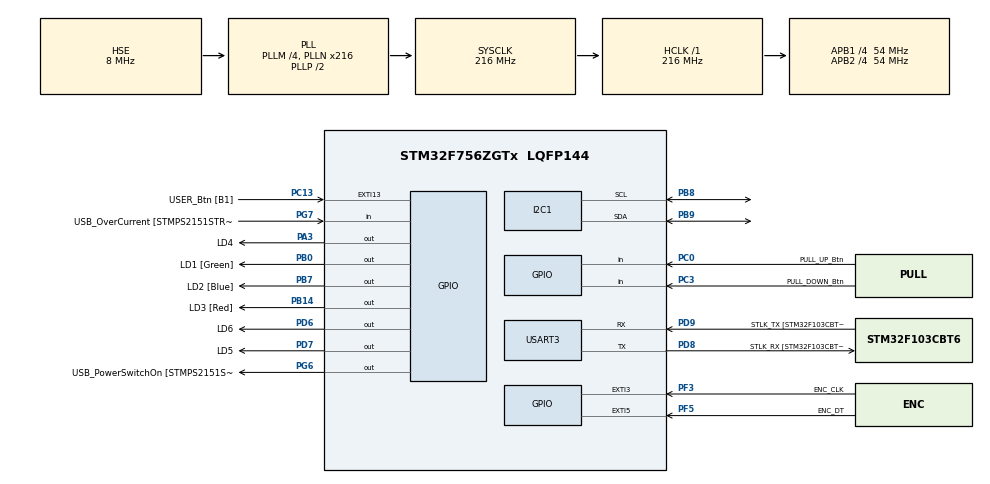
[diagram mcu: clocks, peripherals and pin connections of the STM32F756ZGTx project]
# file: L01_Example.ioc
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I2C1.Timing=0x20404768
Mcu.Family=STM32F7
Mcu.Name=STM32F756ZGTx
Mcu.Package=LQFP144
NVIC.EXTI15_10_IRQn=true\:0\:0\:false\:false\:true\:true\:true\:true
NVIC.EXTI3_IRQn=true\:0\:0\:false\:false\:true\:true\:true\:true
NVIC.EXTI9_5_IRQn=true\:0\:0\:false\:false\:true\:true\:true\:true
NVIC.PriorityGroup=NVIC_PRIORITYGROUP_4
PA1.GPIO_Label=RMII_REF_CLK [LAN8742A-CZ-TR_REFCLK0]
PA1.Signal=ETH_REF_CLK
PA10.GPIO_Label=USB_ID
PA10.Signal=USB_OTG_FS_ID
PA11.GPIO_Label=USB_DM
PA11.Signal=USB_OTG_FS_DM
PA12.GPIO_Label=USB_DP
PA12.Signal=USB_OTG_FS_DP
PA13.GPIO_Label=TMS
PA13.Mode=Serial_Wire
PA13.Signal=SYS_JTMS-SWDIO
PA14.GPIO_Label=TCK
PA14.Mode=Serial_Wire
PA14.Signal=SYS_JTCK-SWCLK
PA2.GPIO_Label=RMII_MDIO [LAN8742A-CZ-TR_MDIO]
PA2.Signal=ETH_MDIO
PA3.GPIO_Label=LD4
PA3.Signal=GPIO_Output
PA7.GPIO_Label=RMII_CRS_DV [LAN8742A-CZ-TR_CRS_DV]
PA7.Signal=ETH_CRS_DV
PA8.GPIO_Label=USB_SOF [TP1]
PA8.Signal=USB_OTG_FS_SOF
PA9.GPIO_Label=USB_VBUS
PA9.Signal=USB_OTG_FS_VBUS
PB0.GPIO_Label=LD1 [Green]
PB0.Signal=GPIO_Output
PB13.GPIO_Label=RMII_TXD1 [LAN8742A-CZ-TR_TXD1]
PB13.Signal=ETH_TXD1
PB14.GPIO_Label=LD3 [Red]
PB14.Signal=GPIO_Output
PB3.GPIO_Label=SW0
PB3.Signal=SYS_JTDO-SWO
PB7.GPIO_Label=LD2 [Blue]
PB7.Signal=GPIO_Output
PB8.Mode=I2C
PB8.Signal=I2C1_SCL
PB9.Mode=I2C
PB9.Signal=I2C1_SDA
PC0.GPIO_Label=PULL_UP_Btn
PC0.GPIO_PuPd=GPIO_PULLUP
PC0.Signal=GPIO_Input
PC1.GPIO_Label=RMII_MDC [LAN8742A-CZ-TR_MDC]
PC1.Signal=ETH_MDC
PC13.GPIO_Label=USER_Btn [B1]
PC13.Signal=GPXTI13
PC14/OSC32_IN.Mode=LSE-External-Oscillator
PC14/OSC32_IN.Signal=RCC_OSC32_IN
PC15/OSC32_OUT.Mode=LSE-External-Oscillator
PC15/OSC32_OUT.Signal=RCC_OSC32_OUT
PC3.GPIO_Label=PULL_DOWN_Btn
PC3.GPIO_PuPd=GPIO_PULLDOWN
PC3.Signal=GPIO_Input
PC4.GPIO_Label=RMII_RXD0 [LAN8742A-CZ-TR_RXD0]
PC4.Signal=ETH_RXD0
PC5.GPIO_Label=RMII_RXD1 [LAN8742A-CZ-TR_RXD1]
PC5.Signal=ETH_RXD1
PD6.GPIO_Label=LD6
PD6.Signal=GPIO_Output
PD7.GPIO_Label=LD5
PD7.Signal=GPIO_Output
PD8.GPIO_Label=STLK_RX [STM32F103CBT6_PA3]
PD8.Mode=Asynchronous
PD8.Signal=USART3_TX
PD9.GPIO_Label=STLK_TX [STM32F103CBT6_PA2]
PD9.Mode=Asynchronous
PD9.Signal=USART3_RX
PF3.GPIO_Label=ENC_CLK
PF3.GPIO_ModeDefaultEXTI=GPIO_MODE_IT_RISING_FALLING
PF3.Signal=GPXTI3
PF5.GPIO_Label=ENC_DT
PF5.GPIO_ModeDefaultEXTI=GPIO_MODE_IT_RISING_FALLING
PF5.Signal=GPXTI5
PG11.GPIO_Label=RMII_TX_EN [LAN8742A-CZ-TR_TXEN]
PG11.Signal=ETH_TX_EN
PG13.GPIO_Label=RMII_TXD0 [LAN8742A-CZ-TR_TXD0]
PG13.Signal=ETH_TXD0
PG6.GPIO_Label=USB_PowerSwitchOn [STMPS2151STR_EN]
PG6.Signal=GPIO_Output
PG7.GPIO_Label=USB_OverCurrent [STMPS2151STR_FAULT]
PG7.Signal=GPIO_Input
PH0/OSC_IN.GPIO_Label=MCO [STM32F103CBT6_PA8]
PH0/OSC_IN.Mode=HSE-External-Clock-Source
PH0/OSC_IN.Signal=RCC_OSC_IN
PH1/OSC_OUT.Mode=HSE-External-Clock-Source
PH1/OSC_OUT.Signal=RCC_OSC_OUT
ProjectManager.HeapSize=0x200
ProjectManager.StackSize=0x400
ProjectManager.TargetToolchain=STM32CubeIDE
RCC.48MHZClocksFreq_Value=24000000
RCC.AHBFreq_Value=216000000
RCC.APB1CLKDivider=RCC_HCLK_DIV4
RCC.APB1Freq_Value=54000000
RCC.APB1TimFreq_Value=108000000
RCC.APB2CLKDivider=RCC_HCLK_DIV4
RCC.APB2Freq_Value=54000000
RCC.APB2TimFreq_Value=108000000
RCC.CortexFreq_Value=216000000
RCC.HCLKFreq_Value=216000000
RCC.HSE_VALUE=8000000
RCC.HSI_VALUE=16000000
RCC.PLLM=4
RCC.PLLMUL=RCC_PLL_MUL9
RCC.PLLN=216
RCC.PLLQ=3
RCC.PLLSourceVirtual=RCC_PLLSOURCE_HSE
RCC.PRESCALERUSB=RCC_USBCLKSOURCE_PLL_DIV1_5
RCC.SYSCLKFreq_VALUE=216000000
RCC.SYSCLKSource=RCC_SYSCLKSOURCE_PLLCLK
RCC.SYSCLKSourceVirtual=RCC_SYSCLKSOURCE_PLLCLK
RCC.USBFreq_Value=144000000
RCC.VCOOutputFreq_Value=432000000
USART3.VirtualMode-Asynchronous=VM_ASYNC
board=NUCLEO-F756ZG

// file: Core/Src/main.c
/* USER CODE BEGIN Header */
/**
  ******************************************************************************
  * @file           : main.c
  * @brief          : Main program body
  ******************************************************************************
  * @attention
  *
  * Copyright (c) 2025 STMicroelectronics.
  * All rights reserved.
  *
  * This software is licensed under terms that can be found in the LICENSE file
  * in the root directory of this software component.
  * If no LICENSE file comes with this software, it is provided AS-IS.
  *
  ******************************************************************************
  */
/* USER CODE END Header */
#include "main.h"
#include "i2c.h"
#include "usart.h"
#include "gpio.h"

/* USER CODE BEGIN PV */
_Bool LD4_State; //< External LED states (0 = off, 1 = on)
unsigned int ENC_Counter = 0;
unsigned int LD4_Blink_ms = 100;
/* USER CODE END PV */

void SystemClock_Config(void);

/* USER CODE BEGIN 0 */
void HAL_GPIO_EXTI_Callback(uint16_t GPIO_Pin)
{
  if(GPIO_Pin == ENC_CLK_Pin || GPIO_Pin == ENC_DT_Pin)
  {
    // Read both encoder pins
    uint8_t clk = HAL_GPIO_ReadPin(ENC_CLK_GPIO_Port, ENC_CLK_Pin);
    uint8_t dt  = HAL_GPIO_ReadPin(ENC_DT_GPIO_Port, ENC_DT_Pin);

    // Encoder state machine
    static uint8_t ENC_state, ENC_transition, ENC_prev_state = 0x03;
    ENC_state = (clk << 1) | dt;
    ENC_transition = (ENC_prev_state << 2) | ENC_state;

    switch (ENC_transition)
    {
        // Clockwise valid transitions
        case 0x01:  // 00 -> 01
        case 0x07:  // 01 -> 11
        case 0x0E:  // 11 -> 10
        case 0x08:  // 10 -> 00
            ENC_Counter = (ENC_Counter + 1 + 400) % 400;
            break;

        // Counter-clockwise valid transitions
        case 0x02:  // 00 -> 10
        case 0x04:  // 01 -> 00
        case 0x0D:  // 11 -> 01
        case 0x0B:  // 10 -> 11
            ENC_Counter = (ENC_Counter - 1 + 400) % 400;
            break;

        default:
            // Invalid transition — ignore (debounce / noise)
            break;
    }

    ENC_prev_state = ENC_state;
  }
}
/* USER CODE END 0 */

int main(void)
{

  /* MCU Configuration--------------------------------------------------------*/

  /* Reset of all peripherals, Initializes the Flash interface and the Systick. */
  HAL_Init();

  /* Configure the system clock */
  SystemClock_Config();

  /* Initialize all configured peripherals */
  MX_GPIO_Init();
  MX_I2C1_Init();
  MX_USART3_UART_Init();

  /* Infinite loop */
  /* USER CODE BEGIN WHILE */
  while (1)
  {
    // Toggle LED
    HAL_GPIO_TogglePin(LD4_GPIO_Port, LD4_Pin);
    LD4_State = HAL_GPIO_ReadPin(LD4_GPIO_Port, LD4_Pin);

    // Wait for given period (100 to 1000 ms)
    LD4_Blink_ms = 100 + (900 * ENC_Counter / 400);
    HAL_Delay(LD4_Blink_ms - 1);

    /* USER CODE END WHILE */

  }
}

void SystemClock_Config(void)
{
  RCC_OscInitTypeDef RCC_OscInitStruct = {0};
  RCC_ClkInitTypeDef RCC_ClkInitStruct = {0};

  /** Configure LSE Drive Capability
  */
  HAL_PWR_EnableBkUpAccess();

  /** Configure the main internal regulator output voltage
  */
  __HAL_RCC_PWR_CLK_ENABLE();
  __HAL_PWR_VOLTAGESCALING_CONFIG(PWR_REGULATOR_VOLTAGE_SCALE1);

  /** Initializes the RCC Oscillators according to the specified parameters
  * in the RCC_OscInitTypeDef structure.
  */
  RCC_OscInitStruct.OscillatorType = RCC_OSCILLATORTYPE_HSE;
  RCC_OscInitStruct.HSEState = RCC_HSE_BYPASS;
  RCC_OscInitStruct.PLL.PLLState = RCC_PLL_ON;
  RCC_OscInitStruct.PLL.PLLSource = RCC_PLLSOURCE_HSE;
  RCC_OscInitStruct.PLL.PLLM = 4;
  RCC_OscInitStruct.PLL.PLLN = 216;
  RCC_OscInitStruct.PLL.PLLP = RCC_PLLP_DIV2;
  RCC_OscInitStruct.PLL.PLLQ = 3;
  if (HAL_RCC_OscConfig(&RCC_OscInitStruct) != HAL_OK)
  {
    Error_Handler();
  }

  /** Activate the Over-Drive mode
  */
  if (HAL_PWREx_EnableOverDrive() != HAL_OK)
  {
    Error_Handler();
  }

  /** Initializes the CPU, AHB and APB buses clocks
  */
  RCC_ClkInitStruct.ClockType = RCC_CLOCKTYPE_HCLK|RCC_CLOCKTYPE_SYSCLK
                              |RCC_CLOCKTYPE_PCLK1|RCC_CLOCKTYPE_PCLK2;
  RCC_ClkInitStruct.SYSCLKSource = RCC_SYSCLKSOURCE_PLLCLK;
  RCC_ClkInitStruct.AHBCLKDivider = RCC_SYSCLK_DIV1;
  RCC_ClkInitStruct.APB1CLKDivider = RCC_HCLK_DIV4;
  RCC_ClkInitStruct.APB2CLKDivider = RCC_HCLK_DIV4;

  if (HAL_RCC_ClockConfig(&RCC_ClkInitStruct, FLASH_LATENCY_7) != HAL_OK)
  {
    Error_Handler();
  }
}

void Error_Handler(void)
{
  __disable_irq();
  while (1)
  {
  }
}
